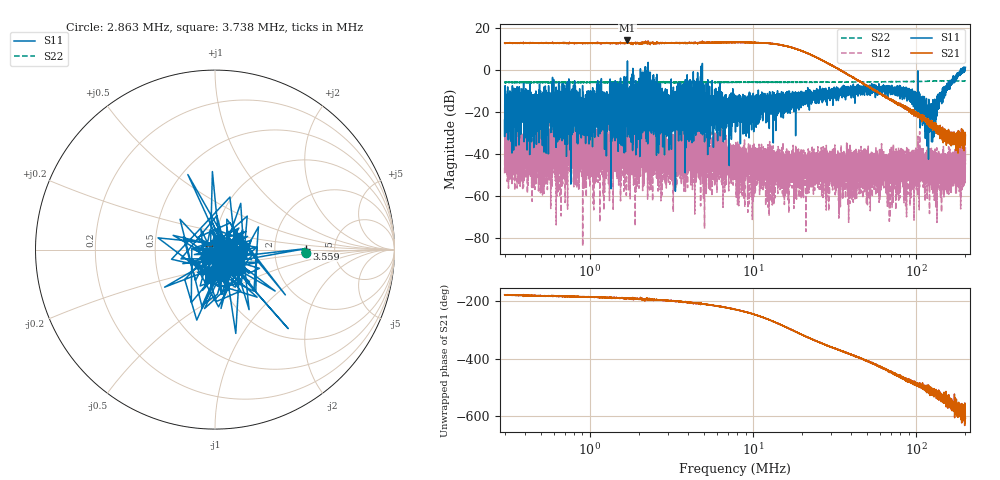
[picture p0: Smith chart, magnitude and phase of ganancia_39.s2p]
# Hz S DB R 50
! CMT, M5065, 19127446, 24.2.4/2
! Date: 11/1/2024 3:36:00 PM
! Data: Format (Calibration Info)
! Freq	S11:dB/Ang(F2)	S21:dB/Ang(F2)	S12:dB/Ang(F2)	S22:dB/Ang(F2)
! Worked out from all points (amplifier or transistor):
!   9000 points, 300 kHz to 200 MHz, reference 50 ohm
!   highest |S21| = 13.9 dB at 1.698 MHz (marker M1)
!   |S21| within 3 dB of that: start of sweep to 16.51 MHz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
!   unconditionally stable (mu >= 1): 2.446 MHz to 4.606 MHz; 4.897 MHz to 186.4 MHz; 188.3 MHz to 192.1 MHz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
!   at 886.8 kHz: K = 10.17, MAG = 14.0 dB, |S12| = -41.4 dB
!   at 7.749 MHz: K = 36.27, MAG = 14.3 dB, |S12| = -52.8 dB
!   at 200 MHz: K = -662.53, MSG = 7.1 dB, |S12| = -45.2 dB
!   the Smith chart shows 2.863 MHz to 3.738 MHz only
!   S11 on the Smith chart (normalised r, x): 2.863 MHz: 1.31, -0.03; 3.559 MHz: 3.07, +0.05; 3.738 MHz: 1.06, -0.22
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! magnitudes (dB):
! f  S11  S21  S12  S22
! 300 kHz  -23.9  12.7  -49.3  -6.1
! 310.1 kHz  -14.7  12.6  -31.3  -5.9
! 455.8 kHz  -23.1  12.7  -39.8  -6.1
! 596 kHz  -9.7  12.5  -31.5  -6.2
! 886.8 kHz  -17.9  12.6  -41.4  -6.1
! 1.022 MHz  -22.0  12.6  -40.8  -6.0
! 1.166 MHz  -18.8  12.7  -42.1  -6.0
! 1.222 MHz  -25.5  12.6  -43.5  -6.0
! 1.698 MHz  4.1  13.9  -44.9  -6.0
! 2.416 MHz  -28.6  12.6  -42.7  -6.0
! 2.621 MHz  -14.9  12.8  -38.4  -6.1
! 2.863 MHz  -17.4  12.6  -37.6  -5.9
! 3.559 MHz  -5.9  12.3  -38.5  -6.0
! 3.738 MHz  -19.2  12.8  -43.6  -6.0
! 7.749 MHz  -20.5  13.0  -52.8  -6.0
! 13.34 MHz  -22.4  12.2  -41.0  -6.0
! 22.91 MHz  -13.0  6.8  -56.4  -6.0
! 67.71 MHz  -9.9  -13.5  -49.4  -5.7
! 95.92 MHz  -13.2  -20.6  -41.7  -5.7
! 120.5 MHz  -26.3  -24.1  -68.4  -5.5
! 163.1 MHz  -7.4  -32.5  -40.9  -5.3
! 200 MHz  1.1  -31.0  -45.2  -5.4
